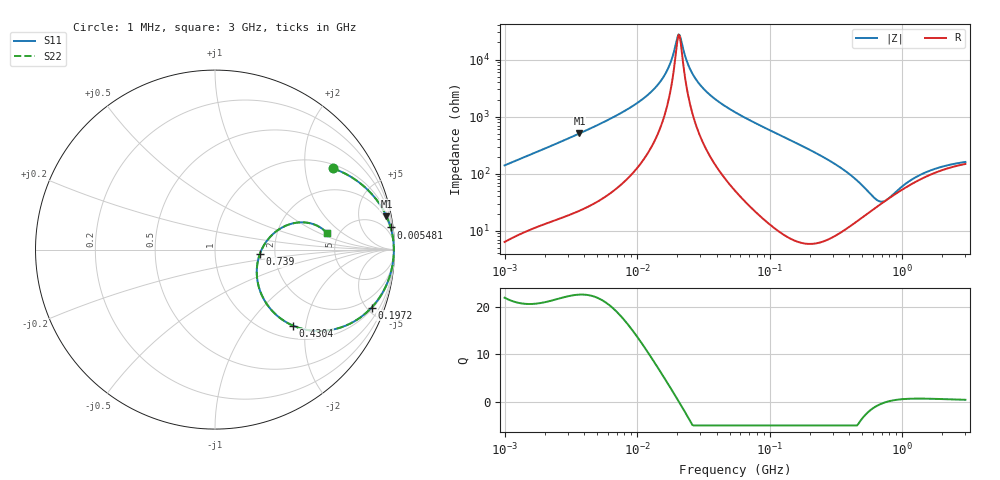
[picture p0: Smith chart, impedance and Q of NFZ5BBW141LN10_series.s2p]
! NFZ5BBW141LN10
# Hz S RI R 50
!Freq.(Hz) S11(Real) S11(Imag) S21(Real) S21(Imag) S12(Real) S12(Imag) S22(Real) S22(Imag)
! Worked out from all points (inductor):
!   401 points, 1 MHz to 3 GHz, reference 50 ohm
!   read as one part in series: L = 22 uH near 1.041 MHz
!   highest Q = 22.6 at 3.673 MHz (marker M1), where L = 22 uH
!   self-resonance near 20.54 MHz
!   S11 on the Smith chart (normalised r, x): 1 MHz: 1.13, +2.80; 5.481 MHz: 2, +16; 197.2 MHz: 1.12, -5.36; 430.4 MHz: 1.27, -1.70; 739 MHz: 1.66, -0.09; 3 GHz: 3.97, +1.24
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1000000  0.6561 0.4528  0.3439 -0.4528  0.3439 -0.4528  0.6561 0.4528
1859846  0.856 0.3279  0.144 -0.3279  0.144 -0.3279  0.856 0.3279
3673095  0.9552 0.186  0.0448 -0.186  0.0448 -0.186  0.9552 0.186
3823119  0.9583 0.179  0.0417 -0.179  0.0417 -0.179  0.9583 0.179
5481359  0.9785 0.1235  0.0215 -0.1235  0.0215 -0.1235  0.9785 0.1235
9992459  0.9926 0.0569  0.00744 -0.0569  0.00744 -0.0569  0.9926 0.0569
1.461624e7  0.9956 0.0255  0.00441 -0.0255  0.00441 -0.0255  0.9956 0.0255
1.71545e7  0.9962 0.0135  0.00384 -0.0135  0.00384 -0.0135  0.9962 0.0135
2.013356e7  0.9964 0.0019  0.00359 -0.0019  0.00359 -0.0019  0.9964 0.0019
2.095589e7  0.9964 -0.00099  0.00357 0.00099  0.00357 0.00099  0.9964 -0.00099
2.459509e7  0.9963 -0.0126  0.00368 0.0126  0.00368 0.0126  0.9963 -0.0126
2.886629e7  0.9959 -0.0246  0.0041 0.0246  0.0041 0.0246  0.9959 -0.0246
5.477226e7  0.9897 -0.082  0.0103 0.082  0.0103 0.082  0.9897 -0.082
1.971969e8  0.8726 -0.3226  0.1274 0.3226  0.1274 0.3226  0.8726 -0.3226
2.094008e8  0.8558 -0.3396  0.1442 0.3396  0.1442 0.3396  0.8558 -0.3396
3.252521e8  0.6492 -0.4471  0.3508 0.4471  0.3508 0.4471  0.6492 -0.4471
4.304467e8  0.4345 -0.4236  0.5655 0.4236  0.5655 0.4236  0.4345 -0.4236
5.696638e8  0.257 -0.2452  0.743 0.2452  0.743 0.2452  0.257 -0.2452
7.38967e8  0.2491 -0.0267  0.7509 0.0267  0.7509 0.0267  0.2491 -0.0267
8.005644e8  0.2739 0.0263  0.7261 -0.0263  0.7261 -0.0263  0.2739 0.0263
1.347129e9  0.4827 0.1519  0.5173 -0.1519  0.5173 -0.1519  0.4827 0.1519
3e9  0.6212 0.0945  0.3788 -0.0945  0.3788 -0.0945  0.6212 0.0945
